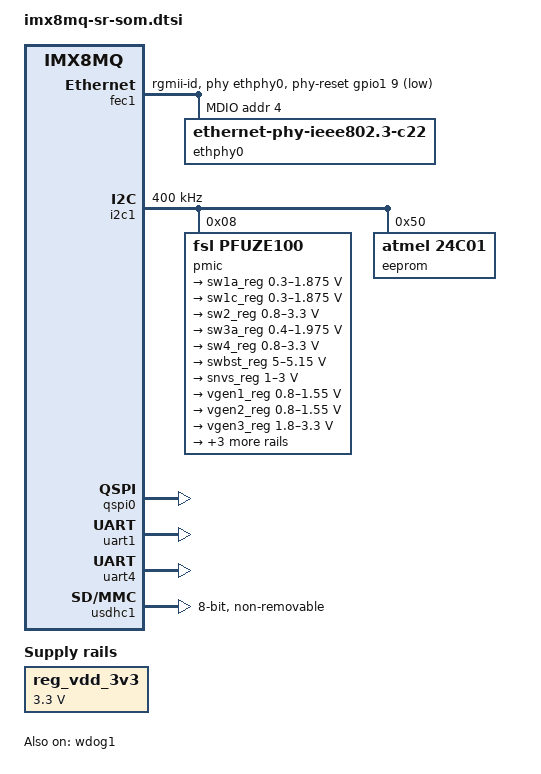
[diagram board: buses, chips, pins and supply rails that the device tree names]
// SPDX-License-Identifier: (GPL-2.0 OR MIT)
/*
 * Copyright (C) 2018 Jon Nettleton <jon@solid-run.com>
 */

#include "imx8mq.dtsi"

/ {
	reg_vdd_3v3: regulator-vdd-3v3 {
		compatible = "regulator-fixed";
		regulator-always-on;
		regulator-name = "vdd_3v3";
		regulator-min-microvolt = <3300000>;
		regulator-max-microvolt = <3300000>;
	};
};

&fec1 {
	pinctrl-names = "default";
	pinctrl-0 = <&pinctrl_fec1>;
	phy-mode = "rgmii-id";
	phy-handle = <&ethphy0>;
	phy-reset-gpios = <&gpio1 9 GPIO_ACTIVE_LOW>;
	phy-reset-duration = <2>;
	fsl,magic-packet;
	status = "okay";

	mdio {
		#address-cells = <1>;
		#size-cells = <0>;

		ethphy0: ethernet-phy@4 {
			compatible = "ethernet-phy-ieee802.3-c22";
			reg = <4>;
		};
	};
};

&i2c1 {
	pinctrl-names = "default";
	pinctrl-0 = <&pinctrl_i2c1>;
	clock-frequency = <400000>;
	status = "okay";

	pmic: pmic@8 {
		compatible = "fsl,pfuze100";
		reg = <0x08>;

		regulators {
			sw1a_reg: sw1ab {
				regulator-min-microvolt = <300000>;
				regulator-max-microvolt = <1875000>;
			};

			sw1c_reg: sw1c {
				regulator-min-microvolt = <300000>;
				regulator-max-microvolt = <1875000>;
			};

			sw2_reg: sw2 {
				regulator-min-microvolt = <800000>;
				regulator-max-microvolt = <3300000>;
				regulator-always-on;
			};

			sw3a_reg: sw3ab {
				regulator-min-microvolt = <400000>;
				regulator-max-microvolt = <1975000>;
				regulator-always-on;
			};

			sw4_reg: sw4 {
				regulator-min-microvolt = <800000>;
				regulator-max-microvolt = <3300000>;
				regulator-always-on;
			};

			swbst_reg: swbst {
				regulator-min-microvolt = <5000000>;
				regulator-max-microvolt = <5150000>;
			};

			snvs_reg: vsnvs {
				regulator-min-microvolt = <1000000>;
				regulator-max-microvolt = <3000000>;
				regulator-always-on;
			};

			vref_reg: vrefddr {
				regulator-always-on;
			};

			vgen1_reg: vgen1 {
				regulator-min-microvolt = <800000>;
				regulator-max-microvolt = <1550000>;
			};

			vgen2_reg: vgen2 {
				regulator-min-microvolt = <800000>;
				regulator-max-microvolt = <1550000>;
				regulator-always-on;
			};

			vgen3_reg: vgen3 {
				regulator-min-microvolt = <1800000>;
				regulator-max-microvolt = <3300000>;
				regulator-always-on;
			};

			vgen4_reg: vgen4 {
				regulator-min-microvolt = <1800000>;
				regulator-max-microvolt = <3300000>;
				regulator-always-on;
			};

			vgen5_reg: vgen5 {
				regulator-min-microvolt = <1800000>;
				regulator-max-microvolt = <3300000>;
				regulator-always-on;
			};

			vgen6_reg: vgen6 {
				regulator-min-microvolt = <1800000>;
				regulator-max-microvolt = <3300000>;
			};
		};
	};

	eeprom@50 {
		compatible = "atmel,24c01";
		reg = <0x50>;
		status = "okay";
	};
};

&pgc_gpu{
	power-supply = <&sw1a_reg>;
};

&pgc_vpu {
	power-supply = <&sw1c_reg>;
};

&qspi0 {
	pinctrl-names = "default";
	pinctrl-0 = <&pinctrl_qspi>;
	status = "okay";

	/* SPI flash; not assembled by default */
	spi_flash: flash@0 {
		#address-cells = <1>;
		#size-cells = <1>;
		reg = <0>;
		compatible = "micron,n25q256a", "jedec,spi-nor";
		spi-max-frequency = <29000000>;
		status = "disabled";
	};
};

&uart1 { /* console */
	pinctrl-names = "default";
	pinctrl-0 = <&pinctrl_uart1>;
	assigned-clocks = <&clk IMX8MQ_CLK_UART1>;
	assigned-clock-parents = <&clk IMX8MQ_CLK_25M>;
	assigned-clock-rates = <25000000>;
	status = "okay";
};

&uart4 { /* ublox BT */
	pinctrl-names = "default";
	pinctrl-0 = <&pinctrl_uart4>;
	assigned-clocks = <&clk IMX8MQ_CLK_UART4>;
	assigned-clock-parents = <&clk IMX8MQ_SYS1_PLL_80M>;
	assigned-clock-rates = <80000000>;
	status = "okay";
};

&usdhc1 {
	assigned-clocks = <&clk IMX8MQ_CLK_USDHC1>;
	assigned-clock-rates = <400000000>;
	pinctrl-names = "default", "state_100mhz", "state_200mhz";
	pinctrl-0 = <&pinctrl_usdhc1>;
	pinctrl-1 = <&pinctrl_usdhc1_100mhz>;
	pinctrl-2 = <&pinctrl_usdhc1_200mhz>;
	bus-width = <8>;
	non-removable;
	status = "okay";
};

&wdog1 {
	pinctrl-names = "default";
	pinctrl-0 = <&pinctrl_wdog>;
	fsl,ext-reset-output;
	status = "okay";
};

&iomuxc {
	pinctrl_fec1: fec1grp {
		fsl,pins = <
			MX8MQ_IOMUXC_ENET_MDC_ENET1_MDC		0x3
			MX8MQ_IOMUXC_ENET_MDIO_ENET1_MDIO	0x23
			MX8MQ_IOMUXC_ENET_TD3_ENET1_RGMII_TD3	0x1f
			MX8MQ_IOMUXC_ENET_TD2_ENET1_RGMII_TD2	0x1f
			MX8MQ_IOMUXC_ENET_TD1_ENET1_RGMII_TD1	0x1f
			MX8MQ_IOMUXC_ENET_TD0_ENET1_RGMII_TD0	0x1f
			MX8MQ_IOMUXC_ENET_RD3_ENET1_RGMII_RD3	0x91
			MX8MQ_IOMUXC_ENET_RD2_ENET1_RGMII_RD2	0x91
			MX8MQ_IOMUXC_ENET_RD1_ENET1_RGMII_RD1	0x91
			MX8MQ_IOMUXC_ENET_RD0_ENET1_RGMII_RD0	0x91
			MX8MQ_IOMUXC_ENET_TXC_ENET1_RGMII_TXC	0x1f
			MX8MQ_IOMUXC_ENET_RXC_ENET1_RGMII_RXC	0x91
			MX8MQ_IOMUXC_ENET_RX_CTL_ENET1_RGMII_RX_CTL	0x91
			MX8MQ_IOMUXC_ENET_TX_CTL_ENET1_RGMII_TX_CTL	0x1f
			MX8MQ_IOMUXC_GPIO1_IO09_GPIO1_IO9	0x19
		>;
	};

	pinctrl_i2c1: i2c1grp {
		fsl,pins = <
			MX8MQ_IOMUXC_I2C1_SCL_I2C1_SCL			0x4000007f
			MX8MQ_IOMUXC_I2C1_SDA_I2C1_SDA			0x4000007f
		>;
	};

	pinctrl_pcie0: pcie0grp {
		fsl,pins = <
			MX8MQ_IOMUXC_I2C4_SCL_PCIE1_CLKREQ_B	0x74
			MX8MQ_IOMUXC_SPDIF_EXT_CLK_GPIO5_IO5	0x16
			MX8MQ_IOMUXC_SAI2_RXFS_GPIO4_IO21	0x16
		>;
	};

	pinctrl_qspi: qspigrp {
		fsl,pins = <
			MX8MQ_IOMUXC_NAND_ALE_QSPI_A_SCLK	0x82
			MX8MQ_IOMUXC_NAND_CE0_B_QSPI_A_SS0_B	0x82
			MX8MQ_IOMUXC_NAND_DATA00_QSPI_A_DATA0	0x82
			MX8MQ_IOMUXC_NAND_DATA01_QSPI_A_DATA1	0x82
			MX8MQ_IOMUXC_NAND_DATA02_QSPI_A_DATA2	0x82
			MX8MQ_IOMUXC_NAND_DATA03_QSPI_A_DATA3	0x82

		>;
	};

	pinctrl_uart1: uart1grp {
		fsl,pins = <
			MX8MQ_IOMUXC_UART1_RXD_UART1_DCE_RX		0x49
			MX8MQ_IOMUXC_UART1_TXD_UART1_DCE_TX		0x49
			MX8MQ_IOMUXC_NAND_CE1_B_GPIO3_IO2		0x19
		>;
	};

	pinctrl_uart4: uart4grp {
		fsl,pins = <
			MX8MQ_IOMUXC_UART4_TXD_UART4_DCE_TX		0x49
			MX8MQ_IOMUXC_UART4_RXD_UART4_DCE_RX		0x49
			MX8MQ_IOMUXC_SAI3_TXD_GPIO5_IO1			0x19
		>;
	};

	pinctrl_usdhc1: usdhc1grp {
		fsl,pins = <
			MX8MQ_IOMUXC_SD1_CLK_USDHC1_CLK			0x83
			MX8MQ_IOMUXC_SD1_CMD_USDHC1_CMD			0xc3
			MX8MQ_IOMUXC_SD1_DATA0_USDHC1_DATA0		0xc3
			MX8MQ_IOMUXC_SD1_DATA1_USDHC1_DATA1		0xc3
			MX8MQ_IOMUXC_SD1_DATA2_USDHC1_DATA2		0xc3
			MX8MQ_IOMUXC_SD1_DATA3_USDHC1_DATA3		0xc3
			MX8MQ_IOMUXC_SD1_DATA4_USDHC1_DATA4		0xc3
			MX8MQ_IOMUXC_SD1_DATA5_USDHC1_DATA5		0xc3
			MX8MQ_IOMUXC_SD1_DATA6_USDHC1_DATA6		0xc3
			MX8MQ_IOMUXC_SD1_DATA7_USDHC1_DATA7		0xc3
			MX8MQ_IOMUXC_SD1_STROBE_USDHC1_STROBE		0x83
			MX8MQ_IOMUXC_SD1_RESET_B_USDHC1_RESET_B		0xc1
		>;
	};

	pinctrl_usdhc1_100mhz: usdhc1grp100mhz {
		fsl,pins = <
			MX8MQ_IOMUXC_SD1_CLK_USDHC1_CLK			0x8d
			MX8MQ_IOMUXC_SD1_CMD_USDHC1_CMD			0xcd
			MX8MQ_IOMUXC_SD1_DATA0_USDHC1_DATA0		0xcd
			MX8MQ_IOMUXC_SD1_DATA1_USDHC1_DATA1		0xcd
			MX8MQ_IOMUXC_SD1_DATA2_USDHC1_DATA2		0xcd
			MX8MQ_IOMUXC_SD1_DATA3_USDHC1_DATA3		0xcd
			MX8MQ_IOMUXC_SD1_DATA4_USDHC1_DATA4		0xcd
			MX8MQ_IOMUXC_SD1_DATA5_USDHC1_DATA5		0xcd
			MX8MQ_IOMUXC_SD1_DATA6_USDHC1_DATA6		0xcd
			MX8MQ_IOMUXC_SD1_DATA7_USDHC1_DATA7		0xcd
			MX8MQ_IOMUXC_SD1_STROBE_USDHC1_STROBE		0x8d
			MX8MQ_IOMUXC_SD1_RESET_B_USDHC1_RESET_B		0xc1
		>;
	};

	pinctrl_usdhc1_200mhz: usdhc1grp200mhz {
		fsl,pins = <
			MX8MQ_IOMUXC_SD1_CLK_USDHC1_CLK			0x9f
			MX8MQ_IOMUXC_SD1_CMD_USDHC1_CMD			0xdf
			MX8MQ_IOMUXC_SD1_DATA0_USDHC1_DATA0		0xdf
			MX8MQ_IOMUXC_SD1_DATA1_USDHC1_DATA1		0xdf
			MX8MQ_IOMUXC_SD1_DATA2_USDHC1_DATA2		0xdf
			MX8MQ_IOMUXC_SD1_DATA3_USDHC1_DATA3		0xdf
			MX8MQ_IOMUXC_SD1_DATA4_USDHC1_DATA4		0xdf
			MX8MQ_IOMUXC_SD1_DATA5_USDHC1_DATA5		0xdf
			MX8MQ_IOMUXC_SD1_DATA6_USDHC1_DATA6		0xdf
			MX8MQ_IOMUXC_SD1_DATA7_USDHC1_DATA7		0xdf
			MX8MQ_IOMUXC_SD1_STROBE_USDHC1_STROBE		0x9f
			MX8MQ_IOMUXC_SD1_RESET_B_USDHC1_RESET_B		0xc1
		>;
	};

	pinctrl_wdog: wdoggrp {
		fsl,pins = <
			MX8MQ_IOMUXC_GPIO1_IO02_WDOG1_WDOG_B 0xc6
		>;
	};
};
